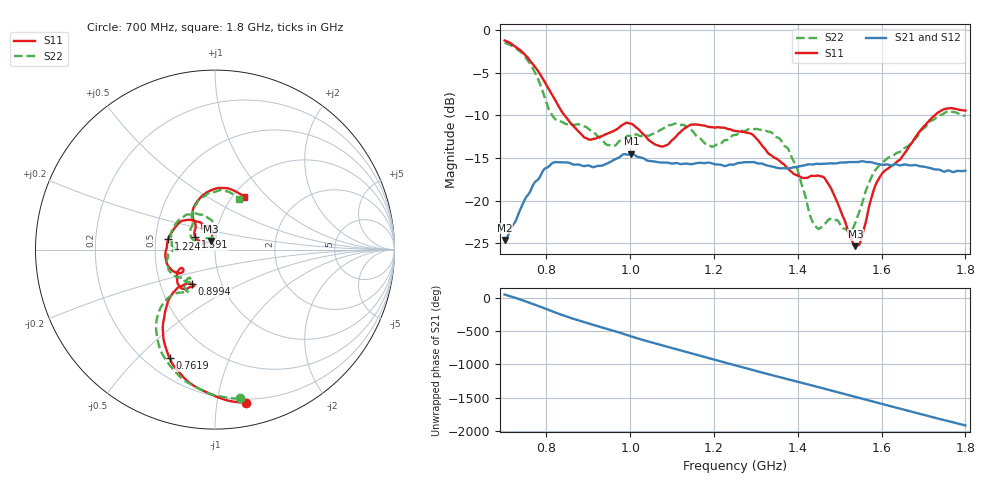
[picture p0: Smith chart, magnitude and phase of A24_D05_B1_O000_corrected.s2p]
! Created with skrf 1.9.0 (http://scikit-rf.org).
# Hz S RI R 50.0
!freq ReS11 ImS11 ReS21 ImS21 ReS12 ImS12 ReS22 ImS22
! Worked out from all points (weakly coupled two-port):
!   1601 points, 700 MHz to 1.8 GHz, reference 50 ohm
!   highest |S21| = -14.51 dB at 1.002 GHz (marker M1); lowest = -24.6 dB at 700 MHz (marker M2)
!   lowest |S11| = -25.4 dB at 1.537 GHz (marker M3), VSWR 1.11, Z = 47.4 + j4.58 ohm
!   |S11| at or under -10 dB: 843 MHz to 1.727 GHz (883.5 MHz wide, 68.8 % of centre)
!   |S22| runs from -23.7 to -1.5 dB; largest |S21 - S12| = 0.0035
!   S11 on the Smith chart (normalised r, x): 700 MHz: 0.17, -1.21; 761.9 MHz: 0.29, -0.63; 899.4 MHz: 0.73, -0.29; 1.224 GHz: 0.58, +0.08; 1.591 GHz: 0.79, +0.11; 1.8 GHz: 1.13, +0.75
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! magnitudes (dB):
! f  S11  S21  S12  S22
! 700 MHz  -1.2  -24.6  -24.4  -1.5
! 761.9 MHz  -3.7  -18.8  -18.8  -4.0
! 817.6 MHz  -7.9  -15.5  -15.6  -10.3
! 883.6 MHz  -12.2  -15.9  -15.8  -11.2
! 899.4 MHz  -12.8  -15.9  -15.9  -11.5
! 948.2 MHz  -12.1  -15.6  -15.6  -13.5
! 1.002 GHz  -11.0  -14.5  -14.6  -12.5
! 1.067 GHz  -13.6  -15.5  -15.5  -11.9
! 1.145 GHz  -11.1  -15.7  -15.7  -11.7
! 1.224 GHz  -11.4  -15.9  -15.9  -13.0
! 1.25 GHz  -11.8  -15.7  -15.7  -12.3
! 1.357 GHz  -15.4  -16.2  -16.2  -12.8
! 1.396 GHz  -17.0  -16.1  -16.0  -16.0
! 1.434 GHz  -17.1  -15.8  -15.7  -22.3
! 1.472 GHz  -18.0  -15.7  -15.7  -22.3
! 1.523 GHz  -24.0  -15.5  -15.5  -23.7
! 1.537 GHz  -25.4  -15.5  -15.5  -22.6
! 1.55 GHz  -24.7  -15.4  -15.4  -20.8
! 1.591 GHz  -17.6  -15.7  -15.7  -16.1
! 1.617 GHz  -16.2  -15.8  -15.8  -14.9
! 1.733 GHz  -9.7  -16.4  -16.4  -10.2
! 1.8 GHz  -9.4  -16.5  -16.5  -10.1
